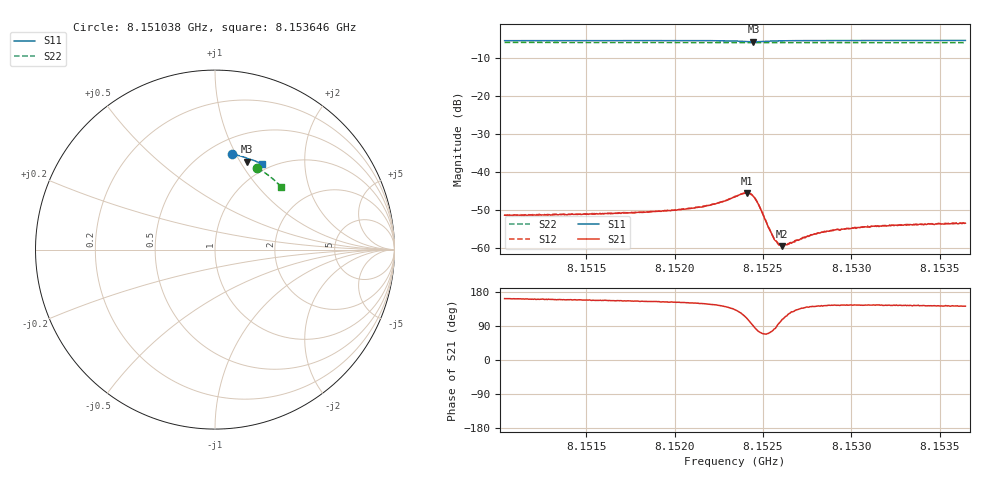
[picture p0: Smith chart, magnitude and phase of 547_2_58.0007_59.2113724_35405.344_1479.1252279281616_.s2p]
#  HZ  S  RI  R  50.00
! Rohde & Schwarz Vector Network Analyzer
! Rohde-Schwarz,ZNB20-2Port,1311601062101988,3.16
! Created: UTC 3/21/2024, 1:14:50 AM
! freq[Hz]  re:S11  im:S11  re:S21  im:S21  re:S12  im:S12  re:S22  im:S22
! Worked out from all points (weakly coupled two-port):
!   401 points, 8.151038 GHz to 8.153646 GHz, reference 50 ohm
!   highest |S21| = -45.45 dB at 8.152407 GHz (marker M1); lowest = -59.4 dB at 8.152609 GHz (marker M2)
!   lowest |S11| = -5.7 dB at 8.152446 GHz (marker M3), VSWR 3.18, Z = 39.9 + j53.6 ohm
!   |S11| at or under -10 dB: nowhere
!   |S22| runs from -5.9 to -5.8 dB; largest |S21 - S12| = 0.00013
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8.1510381e9  0.0931 0.5313  -0.00258 0.000842  -0.00258 0.000879  0.2362 0.4534
8.1514749e9  0.1236 0.5257  -0.00258 0.00103  -0.0026 0.00109  0.2605 0.4394
8.1519116e9  0.154 0.5181  -0.00276 0.00133  -0.00273 0.00137  0.2839 0.4239
8.1521007e9  0.1679 0.5136  -0.00293 0.00165  -0.00292 0.00168  0.2937 0.4169
8.1521594e9  0.1724 0.5117  -0.00299 0.00182  -0.00301 0.00188  0.2966 0.4146
8.1522376e9  0.1786 0.5088  -0.00318 0.00223  -0.00315 0.00227  0.3007 0.4114
8.1523419e9  0.1871 0.5006  -0.0032 0.00348  -0.0032 0.0036  0.306 0.4072
8.1524071e9  0.1864 0.491  -0.00191 0.00499  -0.00184 0.00505  0.3088 0.4043
8.1524266e9  0.1834 0.489  -0.000949 0.00512  -0.000907 0.00519  0.3096 0.4035
8.1524462e9  0.1797 0.4891  2.89e-05 0.0048  0.000104 0.00482  0.3104 0.4028
8.1524592e9  0.1777 0.4907  0.00058 0.00431  0.000623 0.00436  0.311 0.4025
8.1524788e9  0.1761 0.4937  0.000959 0.00345  0.00102 0.00347  0.312 0.4018
8.1525375e9  0.1802 0.5015  0.000543 0.00166  0.000572 0.0017  0.3151 0.3998
8.152557e9  0.1826 0.5026  0.000287 0.00138  0.000283 0.00139  0.3161 0.399
8.1525831e9  0.1856 0.5033  -5.96e-05 0.00115  -1.86e-05 0.00118  0.3174 0.3979
8.1525961e9  0.1871 0.5036  -0.000175 0.00108  -0.00014 0.00106  0.318 0.3974
8.1526092e9  0.1884 0.5036  -0.00032 0.00102  -0.000271 0.00103  0.3187 0.397
8.1526483e9  0.1924 0.5034  -0.000623 0.000979  -0.000568 0.00098  0.3206 0.3954
8.1527787e9  0.2033 0.5011  -0.00117 0.000933  -0.00118 0.000982  0.3271 0.3901
8.1529156e9  0.2135 0.4977  -0.00143 0.00103  -0.00141 0.00106  0.3335 0.3841
8.1532154e9  0.2338 0.4894  -0.00162 0.00114  -0.00163 0.00118  0.3476 0.3712
8.1536457e9  0.2611 0.4763  -0.00168 0.00131  -0.00167 0.00135  0.3665 0.3514
